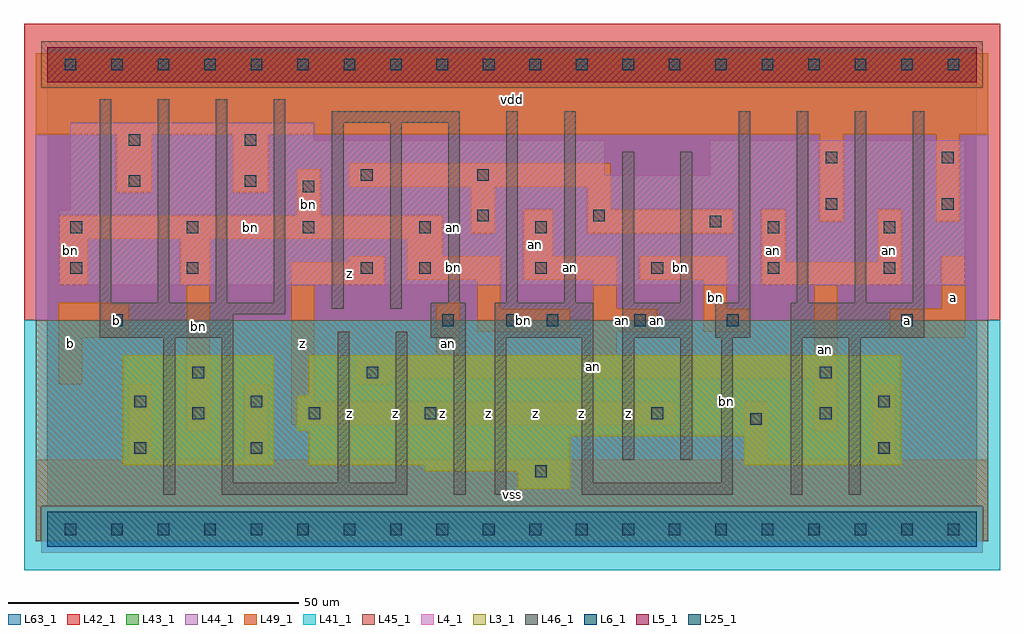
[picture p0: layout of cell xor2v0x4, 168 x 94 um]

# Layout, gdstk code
import gdstk
lib = gdstk.Library(unit=1e-6, precision=1e-09)
def R(c, l, rs):  # rectangles x0, y0, x1, y1
    for r in rs: c.add(gdstk.rectangle(r[:2], r[2:], *l))
def A(c, l, x, y, w, h, nx, ny, dx, dy):  # array of equal rectangles
    R(c, l, [(x+i*dx, y+j*dy, x+i*dx+w, y+j*dy+h) for i in range(nx) for j in range(ny)])
L3_1 = (3, 1)
L4_1 = (4, 1)
L5_1 = (5, 1)
L6_1 = (6, 1)
L25_1 = (25, 1)
L41_1 = (41, 1)
L42_1 = (42, 1)
L43_1 = (43, 1)
L44_1 = (44, 1)
L45_1 = (45, 1)
L46_1 = (46, 1)
L49_1 = (49, 1)
L63_1 = (63, 1)

xor2v0x4 = lib.new_cell('xor2v0x4')
R(xor2v0x4, L3_1, [(81,7,90,10), (65,10,90,11), (13,11,39,30), (45,11,90,16), (120,11,147,16), (45,16,147,17), (43,17,147,23), (45,23,147,30)])
R(xor2v0x4, L4_1, [(2,42,158,55), (4,55,158,61), (4,61,96,67), (114,61,158,67), (4,67,46,70)])
R(xor2v0x4, L5_1, [(0,77,160,83)])
R(xor2v0x4, L6_1, [(0,-3,160,3), (0,-3,160,3)])
A(xor2v0x4, L25_1, 3, -1, 2, 2, 20, 2, 8, 80)
A(xor2v0x4, L25_1, 25, 19, 2, 2, 3, 1, 20, 0)
A(xor2v0x4, L25_1, 64, 44, 2, 2, 5, 1, 20, 0)
A(xor2v0x4, L25_1, 4, 51, 2, 2, 5, 1, 20, 0)
R(xor2v0x4, L25_1, [(84,9,86,11), (15,13,17,15), (35,13,37,15), (143,13,145,15), (121,18,123,20), (104,19,106,21), (133,19,135,21), (15,21,17,23), (35,21,37,23), (143,21,145,23), (25,26,27,28), (55,26,57,28), (133,26,135,28), (11,35,13,37), (68,35,70,37), (79,35,81,37), (86,35,88,37), (101,35,103,37), (117,35,119,37), (147,35,149,37), (4,44,6,46), (24,44,26,46), (54,44,56,46), (124,51,126,53), (144,51,146,53), (114,52,116,54), (74,53,76,55), (94,53,96,55), (134,55,136,57), (154,55,156,57), (44,58,46,60), (14,59,16,61), (34,59,36,61), (54,60,56,62), (74,60,76,62), (134,63,136,65), (154,63,156,65), (14,66,16,68), (34,66,36,68)])
R(xor2v0x4, L41_1, [(-4,-7,164,36)])
R(xor2v0x4, L42_1, [(-4,36,164,87)])
R(xor2v0x4, L43_1, [(0,-3,160,3), (81,7,90,10), (65,10,90,11), (13,11,39,30), (45,11,90,16), (120,11,147,16), (45,16,147,17), (43,17,147,23), (45,23,147,30), (2,42,158,55), (4,55,158,61), (4,61,96,67), (114,61,158,67), (4,67,46,70), (0,77,160,83)])
R(xor2v0x4, L44_1, [(-1,-4,161,4), (-2,36,162,76), (-2,76,-1,82), (161,76,162,82)])
R(xor2v0x4, L45_1, [(-2,-2,-1,4), (161,-2,162,4), (-2,4,162,36), (-1,76,161,84)])
A(xor2v0x4, L46_1, 9, 39, 2, 35, 4, 1, 10, 0)
A(xor2v0x4, L46_1, 119, 39, 2, 33, 4, 1, 10, 0)
R(xor2v0x4, L46_1, [(20,6,22,33), (30,6,62,8), (70,6,72,33), (77,6,79,33), (92,6,118,8), (128,6,130,33), (138,6,140,33), (30,8,32,33), (50,8,52,34), (60,8,62,34), (92,8,94,33), (116,8,118,33), (99,12,101,33), (109,12,111,33), (9,33,32,37), (66,33,72,39), (77,33,94,39), (99,33,111,39), (115,33,121,39), (128,33,151,39), (9,37,41,39), (49,38,51,70), (59,38,61,70), (69,39,71,70), (79,39,81,72), (89,39,91,72), (99,39,101,65), (109,39,111,65), (49,70,71,72)])
R(xor2v0x4, L49_1, [(-2,-2,162,12), (14,12,18,25), (34,12,38,25), (120,12,124,22), (142,12,146,25), (24,17,28,42), (132,17,136,26), (42,18,108,22), (42,22,46,42), (2,25,6,33), (53,25,59,26), (53,26,136,30), (67,30,71,39), (94,30,98,34), (132,30,136,42), (2,33,14,39), (145,33,158,38), (74,34,90,38), (94,34,105,38), (113,34,121,38), (74,38,78,43), (94,38,98,43), (113,38,117,43), (154,38,158,47), (2,42,7,50), (23,42,28,50), (42,42,58,46), (123,42,147,46), (62,43,78,47), (82,43,98,47), (102,43,117,47), (52,46,58,47), (123,46,127,55), (143,46,147,55), (62,47,68,50), (82,47,87,55), (2,50,68,54), (73,51,77,59), (93,51,118,55), (133,53,137,68), (153,53,157,68), (43,54,47,62), (93,55,97,59), (12,58,18,68), (32,58,38,68), (52,59,97,63), (-2,68,162,82)])
R(xor2v0x4, L63_1, [(0,0,160,80)])
xor2v0x4.add(gdstk.Label('an', (70,52), layer=46, texttype=1))
xor2v0x4.add(gdstk.Label('an', (105,36), layer=46, texttype=1))
xor2v0x4.add(gdstk.Label('bn', (117,22), layer=46, texttype=1))
xor2v0x4.add(gdstk.Label('b', (4,32), layer=49, texttype=1))
xor2v0x4.add(gdstk.Label('b', (12,36), layer=49, texttype=1))
xor2v0x4.add(gdstk.Label('bn', (4,48), layer=49, texttype=1))
xor2v0x4.add(gdstk.Label('bn', (26,35), layer=49, texttype=1))
xor2v0x4.add(gdstk.Label('z', (60,20), layer=49, texttype=1))
xor2v0x4.add(gdstk.Label('z', (52,20), layer=49, texttype=1))
xor2v0x4.add(gdstk.Label('z', (44,32), layer=49, texttype=1))
xor2v0x4.add(gdstk.Label('z', (52,44), layer=49, texttype=1))
xor2v0x4.add(gdstk.Label('bn', (45,56), layer=49, texttype=1))
xor2v0x4.add(gdstk.Label('vss', (80,6), layer=49, texttype=1))
xor2v0x4.add(gdstk.Label('z', (84,20), layer=49, texttype=1))
xor2v0x4.add(gdstk.Label('z', (92,20), layer=49, texttype=1))
xor2v0x4.add(gdstk.Label('z', (76,20), layer=49, texttype=1))
xor2v0x4.add(gdstk.Label('z', (68,20), layer=49, texttype=1))
xor2v0x4.add(gdstk.Label('an', (69,32), layer=49, texttype=1))
xor2v0x4.add(gdstk.Label('bn', (70,45), layer=49, texttype=1))
xor2v0x4.add(gdstk.Label('bn', (82,36), layer=49, texttype=1))
xor2v0x4.add(gdstk.Label('an', (84,49), layer=49, texttype=1))
xor2v0x4.add(gdstk.Label('bn', (35,52), layer=49, texttype=1))
xor2v0x4.add(gdstk.Label('vdd', (80,74), layer=49, texttype=1))
xor2v0x4.add(gdstk.Label('z', (100,20), layer=49, texttype=1))
xor2v0x4.add(gdstk.Label('an', (90,45), layer=49, texttype=1))
xor2v0x4.add(gdstk.Label('an', (99,36), layer=49, texttype=1))
xor2v0x4.add(gdstk.Label('bn', (115,40), layer=49, texttype=1))
xor2v0x4.add(gdstk.Label('bn', (109,45), layer=49, texttype=1))
xor2v0x4.add(gdstk.Label('an', (125,48), layer=49, texttype=1))
xor2v0x4.add(gdstk.Label('an', (94,28), layer=49, texttype=1))
xor2v0x4.add(gdstk.Label('an', (134,31), layer=49, texttype=1))
xor2v0x4.add(gdstk.Label('a', (156,40), layer=49, texttype=1))
xor2v0x4.add(gdstk.Label('a', (148,36), layer=49, texttype=1))
xor2v0x4.add(gdstk.Label('an', (145,48), layer=49, texttype=1))

lib.write_gds('xor2v0x4.gds')
